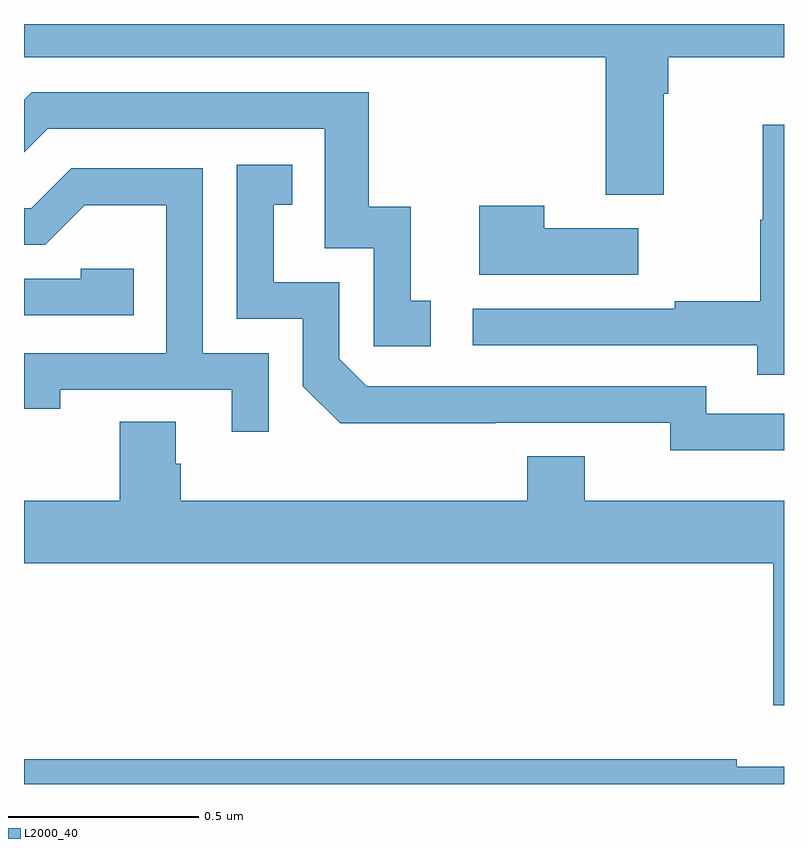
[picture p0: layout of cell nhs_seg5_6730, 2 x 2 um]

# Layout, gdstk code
import gdstk
lib = gdstk.Library(unit=1e-6, precision=1e-09)
def P(c, l, *ps):  # polygons
    for p in ps: c.add(gdstk.Polygon(p, *l))
L2000_40 = (2000, 40)

nhs_seg5_6730 = lib.new_cell('nhs_seg5_6730')
P(nhs_seg5_6730, L2000_40, [(200.683,904.616),(200.696,904.616),(200.696,904.712),(201,904.712),(201,904.799),(199,904.799),(199,904.712),(200.531,904.712),(200.531,904.35),(200.683,904.35)],
  [(200.071,904.071),(200.018,904.071),(200.018,904.318),(199.907,904.318),(199.907,904.62),(199.02,904.62),(199,904.6),(199,904.462),(199.062,904.524),(199.791,904.524),(199.791,904.209),(199.92,904.209),(199.92,903.951),(200.071,903.951)],
  [(201,904.534),(200.944,904.534),(200.944,904.284),(200.937,904.284),(200.937,904.07),(200.713,904.07),(200.713,904.05),(200.181,904.05),(200.181,903.954),(200.929,903.954),(200.929,903.876),(201,903.876)],
  [(201,903.774),(200.796,903.774),(200.796,903.846),(199.902,903.846),(199.83,903.918),(199.83,904.119),(199.657,904.119),(199.657,904.323),(199.706,904.323),(199.706,904.429),(199.56,904.429),(199.56,904.023),(199.734,904.023),(199.734,903.846),(199.832,903.749),(200.24,903.749),(200.24,903.75),(200.7,903.75),(200.7,903.677),(201,903.677)],
  [(199.644,903.933),(199.47,903.933),(199.47,904.419),(199.124,904.419),(199.019,904.314),(199,904.314),(199,904.218),(199.056,904.218),(199.16,904.322),(199.374,904.322),(199.374,903.933),(199,903.933),(199,903.786),(199.096,903.786),(199.096,903.837),(199.547,903.837),(199.547,903.726),(199.644,903.726)],
  [(200.617,904.261),(200.369,904.261),(200.369,904.321),(200.198,904.321),(200.198,904.139),(200.617,904.139)],
  [(199.289,904.155),(199.149,904.155),(199.149,904.128),(199,904.128),(199,904.032),(199.289,904.032)],
  [(201,903.544),(200.476,903.544),(200.476,903.661),(200.324,903.661),(200.324,903.544),(199.412,903.544),(199.412,903.642),(199.399,903.642),(199.399,903.752),(199.252,903.752),(199.252,903.544),(199,903.544),(199,903.38),(200.972,903.38),(200.972,903.006),(201,903.006)],
  [(201,902.845),(200.876,902.845),(200.876,902.864),(199,902.864),(199,902.799),(201,902.799)])

lib.write_gds('nhs_seg5_6730.gds')
